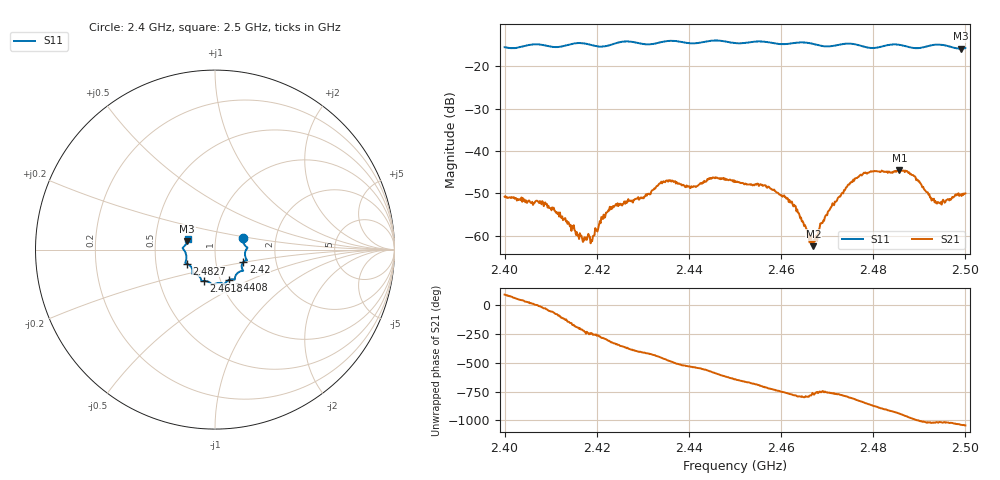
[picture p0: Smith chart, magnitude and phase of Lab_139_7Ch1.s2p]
# Hz S RI R 50
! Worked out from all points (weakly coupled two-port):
!   601 points, 2.4 GHz to 2.5 GHz, reference 50 ohm
!   highest |S21| = -44.45 dB at 2.4857 GHz (marker M1); lowest = -62.4 dB at 2.467 GHz (marker M2)
!   lowest |S11| = -15.8 dB at 2.499 GHz (marker M3), VSWR 1.39, Z = 36.5 + j3.53 ohm
!   |S11| at or under -10 dB: start of sweep to end of sweep
!   S12 and S22 are empty: the file has one direction only
!   S11 on the Smith chart (normalised r, x): 2.4 GHz: 1.36, +0.17; 2.42 GHz: 1.36, -0.19; 2.4408 GHz: 1.10, -0.39; 2.4618 GHz: 0.84, -0.30; 2.4827 GHz: 0.72, -0.12; 2.5 GHz: 0.73, +0.09
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2.4e9  0.156 0.0619  -9.43e-05 0.00289  0 0  0 0
2.408667e9  0.1766 0.00492  0.00218 -0.00112  0 0  0 0
2.416667e9  0.178 -0.0595  -0.000852 0.000533  0 0  0 0
2.419e9  0.1654 -0.0636  -0.000341 0.000796  0 0  0 0
2.42e9  0.1578 -0.0692  -0.000101 0.00114  0 0  0 0
2.423333e9  0.15 -0.1017  0.00167 0.00126  0 0  0 0
2.433333e9  0.112 -0.152  0.000332 -0.00394  0 0  0 0
2.440833e9  0.0789 -0.1689  -0.00378 -8.06e-05  0 0  0 0
2.4455e9  0.0523 -0.1944  -0.00329 0.00357  0 0  0 0
2.45e9  0.028 -0.1859  0.000882 0.00422  0 0  0 0
2.456833e9  -0.0176 -0.1926  0.00374 0.00034  0 0  0 0
2.461833e9  -0.0602 -0.175  0.00168 -0.00204  0 0  0 0
2.466667e9  -0.0769 -0.1684  0.000431 -0.000647  0 0  0 0
2.467e9  -0.0775 -0.1661  0.00046 -0.000599  0 0  0 0
2.474833e9  -0.1267 -0.135  0.000611 -0.00398  0 0  0 0
2.482667e9  -0.1571 -0.0779  -0.00567 0.000417  0 0  0 0
2.483333e9  -0.1615 -0.0765  -0.00558 0.00126  0 0  0 0
2.485667e9  -0.1647 -0.0704  -0.00458 0.00386  0 0  0 0
2.488667e9  -0.1595 -0.0407  -0.000279 0.0052  0 0  0 0
2.493833e9  -0.1803 0.00772  0.001 0.00218  0 0  0 0
2.499e9  -0.1545 0.0471  0.00227 0.00207  0 0  0 0
2.5e9  -0.1521 0.0616  0.00255 0.00188  0 0  0 0
